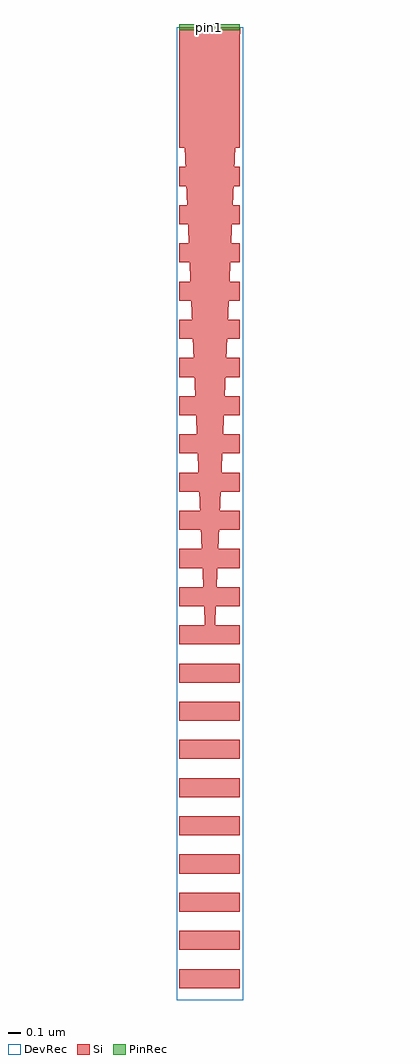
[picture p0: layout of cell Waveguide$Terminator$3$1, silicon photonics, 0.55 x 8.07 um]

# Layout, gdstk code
import gdstk
lib = gdstk.Library(unit=1e-6, precision=1e-09)
def R(c, l, rs):  # rectangles x0, y0, x1, y1
    for r in rs: c.add(gdstk.rectangle(r[:2], r[2:], *l))
def A(c, l, x, y, w, h, nx, ny, dx, dy):  # array of equal rectangles
    R(c, l, [(x+i*dx, y+j*dy, x+i*dx+w, y+j*dy+h) for i in range(nx) for j in range(ny)])
def P(c, l, *ps):  # polygons
    for p in ps: c.add(gdstk.Polygon(p, *l))
Si = (1, 0)
PinRec = (1, 10)
DevRec = (68, 0)

waveguide_terminator_3_1 = lib.new_cell('Waveguide$Terminator$3$1')
A(waveguide_terminator_3_1, Si, -0.255, -6.902, 0.5, 0.158, 1, 3, 0, 0.316)
A(waveguide_terminator_3_1, Si, -0.255, -6.27, 0.5, 0.158, 1, 5, 0, 0.316)
A(waveguide_terminator_3_1, Si, -0.255, -4.69, 0.5, 0.158, 1, 10, 0, 0.316)
A(waveguide_terminator_3_1, Si, -0.255, -1.53, 0.5, 0.158, 1, 5, 0, 0.316)
R(waveguide_terminator_3_1, Si, [(-0.255,-5.006,0.245,-4.848), (-0.255,-4.69,0.245,-4.532), (-0.255,-1.846,0.245,-1.688), (-0.255,-1.53,0.245,-1.372), (-0.255,0.05,0.245,1.05)])
P(waveguide_terminator_3_1, Si, [(-0.04,-3.96),(-0.25,1.04),(0.25,1.04),(0.04,-3.96)])
R(waveguide_terminator_3_1, DevRec, [(-0.275,-7,0.275,1.05)])
waveguide_terminator_3_1.add(gdstk.FlexPath([(-0.005,1.025),(-0.005,1.075)], 0.5, ends="flush", simple_path=True, layer=1, datatype=10))  # PinRec
waveguide_terminator_3_1.add(gdstk.Label('pin1', (-0.005,1.05), layer=1, texttype=10))

lib.write_gds('Waveguide_Terminator_3_1.gds')
